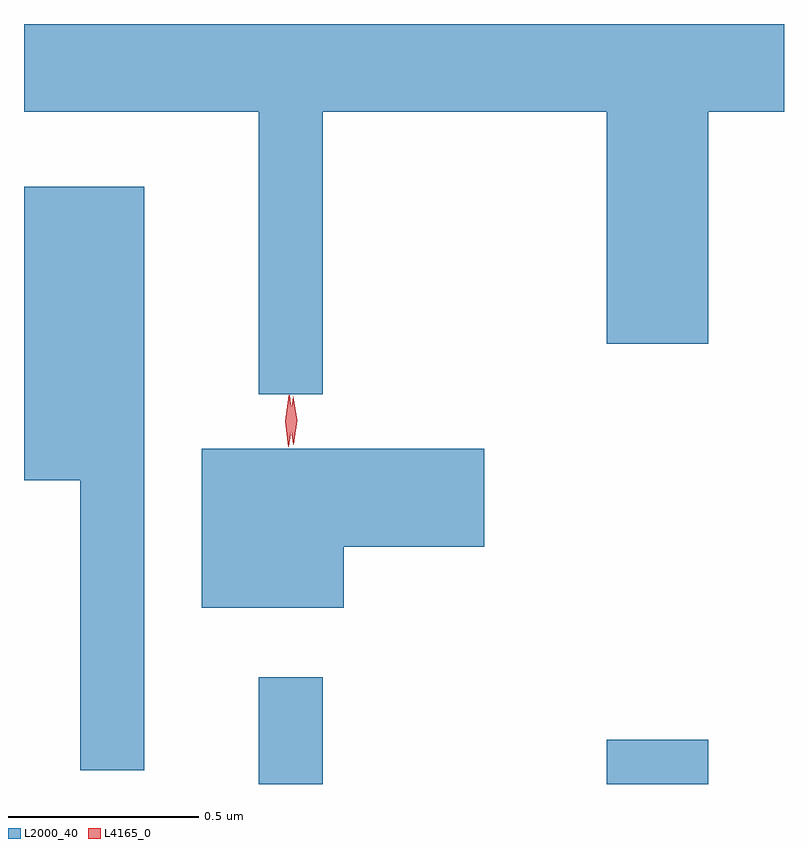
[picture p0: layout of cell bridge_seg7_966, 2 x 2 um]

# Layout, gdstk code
import gdstk
lib = gdstk.Library(unit=1e-6, precision=1e-09)
def R(c, l, rs):  # rectangles x0, y0, x1, y1
    for r in rs: c.add(gdstk.rectangle(r[:2], r[2:], *l))
def P(c, l, *ps):  # polygons
    for p in ps: c.add(gdstk.Polygon(p, *l))
L2000_40 = (2000, 40)
L4165_0 = (4165, 0)

bridge_seg7_966 = lib.new_cell('bridge_seg7_966')
R(bridge_seg7_966, L2000_40, [(533.841,1699.227,534.009,1699.508), (534.756,1699.227,535.024,1699.344)])
P(bridge_seg7_966, L2000_40, [(534.009,1700.996),(534.756,1700.996),(534.756,1700.386),(535.024,1700.386),(535.024,1700.996),(535.223,1700.996),(535.223,1701.227),(533.223,1701.227),(533.223,1700.996),(533.841,1700.996),(533.841,1700.253),(534.009,1700.253)],
  [(533.539,1700.799),(533.223,1700.799),(533.223,1700.026),(533.371,1700.026),(533.371,1699.263),(533.539,1699.263)],
  [(534.064,1699.851),(534.434,1699.851),(534.434,1700.109),(533.691,1700.109),(533.691,1699.691),(534.064,1699.691)])
P(bridge_seg7_966, L4165_0, [(533.919,1700.114),(533.91,1700.182),(533.92,1700.25),(533.921,1700.25),(533.922,1700.25),(533.93,1700.182),(533.92,1700.114),(533.92,1700.114)],
  [(533.932,1700.12),(533.932,1700.121),(533.922,1700.184),(533.931,1700.246),(533.932,1700.247),(533.932,1700.246),(533.942,1700.184),(533.933,1700.121)])

lib.write_gds('bridge_seg7_966.gds')
